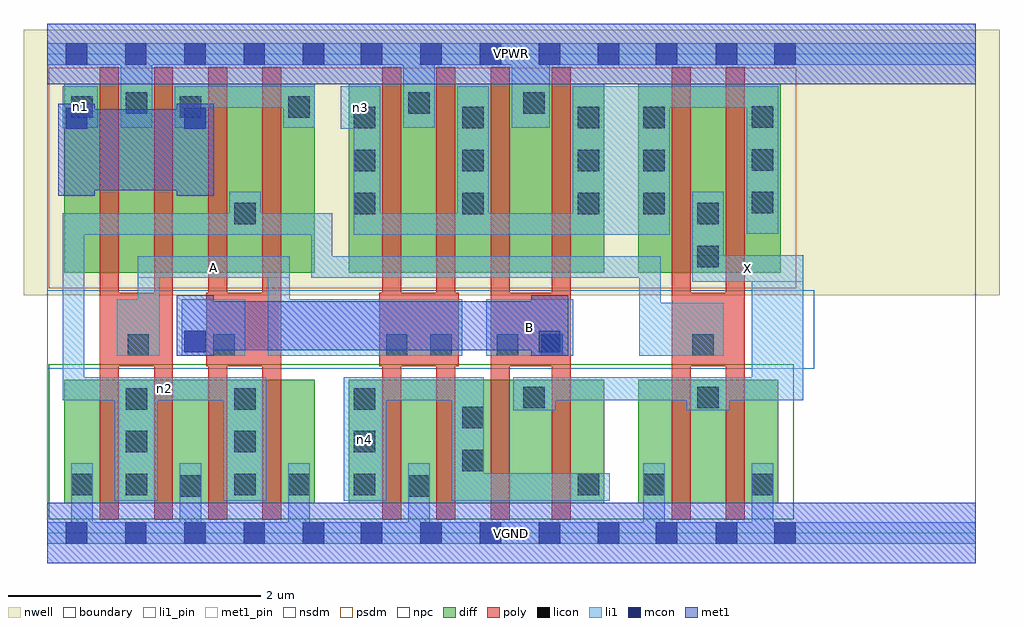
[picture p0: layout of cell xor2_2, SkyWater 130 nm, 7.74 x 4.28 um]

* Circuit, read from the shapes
.subckt xor2_2 A B VGND VPWR X n1 n2 n3 n4
XM1 n2 A VGND VSUBS sky130_fd_pr__nfet_01v8 w=0.98 l=0.15 m=2
XM2 n2 B VGND VSUBS sky130_fd_pr__nfet_01v8 w=0.98 l=0.15 m=2
XM3 VGND A n4 VSUBS sky130_fd_pr__nfet_01v8 w=0.98 l=0.15 m=2
XM4 X B n4 VSUBS sky130_fd_pr__nfet_01v8 w=0.98 l=0.15 m=2
XM5 X n2 VGND VSUBS sky130_fd_pr__nfet_01v8 w=0.98 l=0.15 m=2
XM6 VPWR A n1 n5 sky130_fd_pr__pfet_01v8 w=1.5 l=0.15 m=2
XM7 n2 B n1 n5 sky130_fd_pr__pfet_01v8 w=1.5 l=0.15 m=2
XM8 VPWR A n3 n5 sky130_fd_pr__pfet_01v8 w=1.5 l=0.15 m=2
XM9 VPWR B n3 n5 sky130_fd_pr__pfet_01v8 w=1.5 l=0.15 m=2
XM10 X n2 n3 n5 sky130_fd_pr__pfet_01v8 w=1.5 l=0.15 m=2
.ends

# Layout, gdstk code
import gdstk
lib = gdstk.Library(unit=1e-6, precision=1e-09)
def R(c, l, rs):  # rectangles x0, y0, x1, y1
    for r in rs: c.add(gdstk.rectangle(r[:2], r[2:], *l))
def A(c, l, x, y, w, h, nx, ny, dx, dy):  # array of equal rectangles
    R(c, l, [(x+i*dx, y+j*dy, x+i*dx+w, y+j*dy+h) for i in range(nx) for j in range(ny)])
nwell = (64, 20)
diff = (65, 20)
poly = (66, 20)
licon = (66, 44)
li1_pin = (67, 16)
li1 = (67, 20)
mcon = (67, 44)
met1_pin = (68, 16)
met1 = (68, 20)
nsdm = (93, 44)
psdm = (94, 20)
npc = (95, 20)
boundary = (235, 4)

xor2_2 = lib.new_cell('xor2_2')
R(xor2_2, nwell, [(-0.19,1.885,7.55,3.99), (0,1.885,7.36,3.99)])
R(xor2_2, diff, [(0.135,0.235,2.12,1.215), (2.39,0.235,4.415,1.215), (4.685,0.235,5.795,1.215), (0.135,2.065,2.12,3.565), (2.39,2.065,4.415,3.565), (4.685,2.065,5.815,3.565)])
A(xor2_2, poly, 0.415, 0.105, 0.15, 3.59, 4, 1, 0.43, 0)
A(xor2_2, poly, 2.655, 0.105, 0.15, 3.59, 3, 1, 0.43, 0)
R(xor2_2, poly, [(4,0.105,4.15,3.695), (4.95,0.105,5.1,3.695), (5.38,0.105,5.53,3.695), (0.415,1.325,0.995,1.905), (1.26,1.325,1.855,1.905), (2.63,1.325,3.26,1.905), (3.515,1.325,4.15,1.905), (4.95,1.325,5.53,1.905)])
A(xor2_2, licon, 0.62, 0.3, 0.17, 0.17, 1, 3, 0, 0.34)
A(xor2_2, licon, 1.48, 0.3, 0.17, 0.17, 1, 3, 0, 0.34)
A(xor2_2, licon, 2.43, 0.3, 0.17, 0.17, 1, 3, 0, 0.34)
A(xor2_2, licon, 2.43, 2.53, 0.17, 0.17, 1, 3, 0, 0.34)
A(xor2_2, licon, 3.29, 2.53, 0.17, 0.17, 1, 3, 0, 0.34)
A(xor2_2, licon, 4.205, 2.53, 0.17, 0.17, 1, 3, 0, 0.34)
A(xor2_2, licon, 4.725, 2.53, 0.17, 0.17, 1, 3, 0, 0.34)
A(xor2_2, licon, 5.585, 2.535, 0.17, 0.17, 1, 3, 0, 0.34)
A(xor2_2, licon, 0.19, 3.295, 0.17, 0.17, 3, 1, 0.86, 0)
R(xor2_2, licon, [(1.05,0.29,1.22,0.46), (2.86,0.29,3.03,0.46), (0.19,0.3,0.36,0.47), (1.91,0.3,2.08,0.47), (4.205,0.3,4.375,0.47), (4.725,0.3,4.895,0.47), (5.585,0.3,5.755,0.47), (3.29,0.49,3.46,0.66), (3.29,0.83,3.46,1), (3.775,0.99,3.945,1.16), (5.155,0.99,5.325,1.16), (0.635,1.405,0.805,1.575), (1.315,1.405,1.485,1.575), (2.685,1.405,2.855,1.575), (3.035,1.405,3.205,1.575), (3.565,1.405,3.735,1.575), (3.915,1.405,4.085,1.575), (5.115,1.405,5.285,1.575), (5.155,2.11,5.325,2.28), (1.48,2.45,1.65,2.62), (5.155,2.45,5.325,2.62), (0.62,3.325,0.79,3.495), (2.86,3.325,3.03,3.495), (3.775,3.325,3.945,3.495)])
R(xor2_2, li1_pin, [(3.48,1.405,4.17,1.855), (5.115,1.995,5.995,2.205), (0.715,2.025,1.92,2.195)])
A(xor2_2, li1, 0.19, -0.085, 0.17, 0.64, 3, 1, 0.86, 0)
R(xor2_2, li1, [(0,-0.085,7.36,0.085), (2.86,-0.085,3.03,0.555), (4.725,-0.085,4.895,0.555), (5.585,-0.085,5.755,0.555), (0.535,0.255,0.875,1.235), (1.395,0.255,1.735,1.235), (2.35,0.255,2.685,1.235), (3.205,0.255,4.46,0.475), (3.205,0.255,3.46,1.235), (3.695,0.975,4.03,1.235), (5.07,0.975,5.41,1.235), (0.12,1.055,1.735,1.235), (0.12,1.055,0.29,2.535), (2.35,1.055,3.46,1.235), (3.695,1.055,5.995,1.235), (5.585,1.055,5.995,2.205), (0.55,1.405,0.89,1.855), (0.715,1.405,0.89,2.195), (1.065,1.405,1.57,1.855), (1.745,1.405,1.92,2.195), (1.745,1.405,3.29,1.855), (3.48,1.405,4.17,1.855), (4.695,1.405,5.365,1.825), (4.695,1.405,4.865,2.195), (5.115,1.995,5.365,2.705), (5.115,1.995,5.995,2.205), (0.715,2.025,1.92,2.195), (2.09,2.025,4.865,2.195), (2.09,2.025,2.26,2.535), (0.12,2.365,2.26,2.535), (1.44,2.365,1.69,2.705), (2.43,2.365,4.935,2.535), (2.43,2.365,2.64,3.545), (3.25,2.365,3.5,3.545), (4.165,2.365,4.935,3.545), (5.545,2.375,5.795,3.545), (0.145,3.205,0.315,3.545), (1.085,3.205,1.255,3.545), (2.325,3.205,2.64,3.545), (0.12,3.215,0.4,3.545), (0.58,3.215,0.83,3.885), (1.01,3.215,1.26,3.545), (1.87,3.215,2.12,3.545), (2.82,3.215,3.07,3.885), (3.68,3.215,3.985,3.885), (1.01,3.375,2.12,3.545), (4.165,3.375,5.795,3.545), (0,3.715,7.36,3.885)])
A(xor2_2, mcon, 0.145, -0.085, 0.17, 0.17, 5, 2, 0.47, 3.8)
R(xor2_2, mcon, [(2.485,-0.085,2.655,0.085), (2.955,-0.085,3.125,0.085), (3.43,-0.085,3.6,0.085), (3.895,-0.085,4.065,0.085), (4.365,-0.085,4.535,0.085), (4.825,-0.085,4.995,0.085), (5.3,-0.085,5.47,0.085), (5.765,-0.085,5.935,0.085), (1.085,1.435,1.255,1.605), (3.895,1.435,4.065,1.605), (0.145,3.205,0.315,3.375), (1.085,3.205,1.255,3.375), (2.485,3.715,2.655,3.885), (2.955,3.715,3.125,3.885), (3.43,3.715,3.6,3.885), (3.895,3.715,4.065,3.885), (4.365,3.715,4.535,3.885), (4.825,3.715,4.995,3.885), (5.3,3.715,5.47,3.885), (5.765,3.715,5.935,3.885)])
R(xor2_2, met1_pin, [(0,-0.24,7.36,0.24), (0,3.56,7.36,4.04)])
R(xor2_2, met1, [(0,-0.24,7.36,0.24), (1.025,1.405,1.32,1.885), (3.835,1.405,4.13,1.885), (1.025,1.45,4.13,1.84), (0.085,2.675,0.375,3.405), (1.025,2.675,1.32,3.405), (0.085,2.72,1.32,3.36), (0,3.56,7.36,4.04)])
R(xor2_2, nsdm, [(0.01,0.11,5.92,1.34)])
R(xor2_2, psdm, [(0.01,1.94,5.94,3.69)])
R(xor2_2, npc, [(0,1.305,6.08,1.925)])
R(xor2_2, boundary, [(0,0,7.36,3.8)])
xor2_2.add(gdstk.Label('A', (1.317,2.11), layer=67, texttype=5))
xor2_2.add(gdstk.Label('B', (3.825,1.63), layer=67, texttype=5))
xor2_2.add(gdstk.Label('X', (5.555,2.1), layer=67, texttype=5))
xor2_2.add(gdstk.Label('n4', (2.517,0.745), layer=67, texttype=5))
xor2_2.add(gdstk.Label('n2', (0.927,1.145), layer=67, texttype=5))
xor2_2.add(gdstk.Label('n1', (0.26,3.38), layer=67, texttype=5))
xor2_2.add(gdstk.Label('n3', (2.482,3.375), layer=67, texttype=5))
xor2_2.add(gdstk.Label('VPWR', (3.68,3.8), layer=68, texttype=5))
xor2_2.add(gdstk.Label('VGND', (3.68,0), layer=68, texttype=5))
xor2_2.add(gdstk.Label('A', (1.317,2.11), layer=67, texttype=16))
xor2_2.add(gdstk.Label('B', (3.825,1.63), layer=67, texttype=16))
xor2_2.add(gdstk.Label('X', (5.555,2.1), layer=67, texttype=16))
xor2_2.add(gdstk.Label('VPWR', (3.68,3.8), layer=68, texttype=16))
xor2_2.add(gdstk.Label('VGND', (3.68,0), layer=68, texttype=16))

lib.write_gds('xor2_2.gds')
